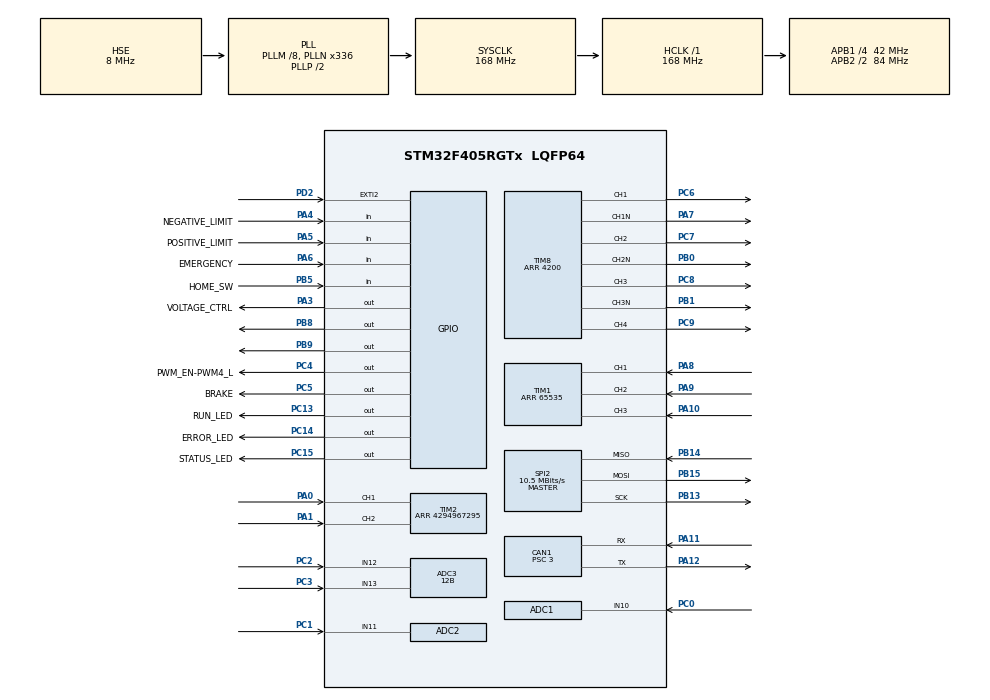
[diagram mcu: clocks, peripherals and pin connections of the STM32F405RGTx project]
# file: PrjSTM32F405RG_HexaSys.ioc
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ADC1.Channel-0\#ChannelRegularConversion=ADC_CHANNEL_10
ADC1.ClockPrescaler=ADC_CLOCK_SYNC_PCLK_DIV4
ADC1.ContinuousConvMode=DISABLE
ADC1.DMAContinuousRequests=DISABLE
ADC1.DataAlign=ADC_DATAALIGN_RIGHT
ADC1.DiscontinuousConvMode=DISABLE
ADC1.EOCSelection=ADC_EOC_SEQ_CONV
ADC1.EnableAnalogWatchDog=false
ADC1.ExternalTrigConv=ADC_EXTERNALTRIGCONV_T8_TRGO
ADC1.ExternalTrigConvEdge=ADC_EXTERNALTRIGCONVEDGE_FALLING
ADC1.InjNumberOfConversion=0
ADC1.NbrOfConversion=1
ADC1.NbrOfConversionFlag=1
ADC1.Rank-0\#ChannelRegularConversion=1
ADC1.Resolution=ADC_RESOLUTION_12B
ADC1.SamplingTime-0\#ChannelRegularConversion=ADC_SAMPLETIME_15CYCLES
ADC1.ScanConvMode=DISABLE
ADC1.master=1
ADC2.Channel-0\#ChannelRegularConversion=ADC_CHANNEL_11
ADC2.ClockPrescaler=ADC_CLOCK_SYNC_PCLK_DIV4
ADC2.ContinuousConvMode=DISABLE
ADC2.DMAContinuousRequests=DISABLE
ADC2.DataAlign=ADC_DATAALIGN_RIGHT
ADC2.DiscontinuousConvMode=DISABLE
ADC2.EOCSelection=ADC_EOC_SEQ_CONV
ADC2.EnableAnalogWatchDog=false
ADC2.ExternalTrigConv=ADC_EXTERNALTRIGCONV_T8_TRGO
ADC2.ExternalTrigConvEdge=ADC_EXTERNALTRIGCONVEDGE_FALLING
ADC2.InjNumberOfConversion=0
ADC2.NbrOfConversion=1
ADC2.NbrOfConversionFlag=1
ADC2.Rank-0\#ChannelRegularConversion=1
ADC2.Resolution=ADC_RESOLUTION_12B
ADC2.SamplingTime-0\#ChannelRegularConversion=ADC_SAMPLETIME_15CYCLES
ADC2.ScanConvMode=DISABLE
ADC3.Channel-0\#ChannelRegularConversion=ADC_CHANNEL_12
ADC3.Channel-1\#ChannelRegularConversion=ADC_CHANNEL_13
ADC3.Channel-2\#ChannelRegularConversion=ADC_CHANNEL_13
ADC3.Channel-3\#ChannelRegularConversion=ADC_CHANNEL_12
ADC3.ClockPrescaler=ADC_CLOCK_SYNC_PCLK_DIV4
ADC3.ContinuousConvMode=DISABLE
ADC3.DMAContinuousRequests=ENABLE
ADC3.DataAlign=ADC_DATAALIGN_RIGHT
ADC3.DiscontinuousConvMode=DISABLE
ADC3.EOCSelection=ADC_EOC_SEQ_CONV
ADC3.EnableAnalogWatchDog=false
ADC3.ExternalTrigConv=ADC_EXTERNALTRIGCONV_T8_TRGO
ADC3.ExternalTrigConvEdge=ADC_EXTERNALTRIGCONVEDGE_FALLING
ADC3.InjNumberOfConversion=0
ADC3.NbrOfConversion=2
ADC3.NbrOfConversionFlag=1
ADC3.Rank-0\#ChannelRegularConversion=1
ADC3.Rank-1\#ChannelRegularConversion=2
ADC3.Rank-2\#ChannelRegularConversion=2
ADC3.Rank-3\#ChannelRegularConversion=2
ADC3.Resolution=ADC_RESOLUTION_12B
ADC3.SamplingTime-0\#ChannelRegularConversion=ADC_SAMPLETIME_15CYCLES
ADC3.SamplingTime-1\#ChannelRegularConversion=ADC_SAMPLETIME_3CYCLES
ADC3.SamplingTime-2\#ChannelRegularConversion=ADC_SAMPLETIME_15CYCLES
ADC3.SamplingTime-3\#ChannelRegularConversion=ADC_SAMPLETIME_3CYCLES
ADC3.ScanConvMode=ENABLE
CAN1.BS1=CAN_BS1_10TQ
CAN1.BS2=CAN_BS2_3TQ
CAN1.CalculateTimeBit=1000
CAN1.CalculateTimeQuantum=71.42857142857143
CAN1.Prescaler=3
Dma.ADC3.0.Direction=DMA_PERIPH_TO_MEMORY
Dma.ADC3.0.FIFOMode=DMA_FIFOMODE_ENABLE
Dma.ADC3.0.FIFOThreshold=DMA_FIFO_THRESHOLD_1QUARTERFULL
Dma.ADC3.0.Instance=DMA2_Stream0
Dma.ADC3.0.MemBurst=DMA_MBURST_SINGLE
Dma.ADC3.0.MemDataAlignment=DMA_MDATAALIGN_HALFWORD
Dma.ADC3.0.MemInc=DMA_MINC_ENABLE
Dma.ADC3.0.Mode=DMA_CIRCULAR
Dma.ADC3.0.PeriphBurst=DMA_PBURST_SINGLE
Dma.ADC3.0.PeriphDataAlignment=DMA_PDATAALIGN_HALFWORD
Dma.ADC3.0.PeriphInc=DMA_PINC_DISABLE
Dma.ADC3.0.Priority=DMA_PRIORITY_LOW
Dma.Request0=ADC3
Mcu.Family=STM32F4
Mcu.Name=STM32F405RGTx
Mcu.Package=LQFP64
NVIC.ADC_IRQn=true\:0\:0\:false\:false\:true\:true
NVIC.CAN1_RX0_IRQn=true\:2\:0\:true\:false\:true\:true
NVIC.DMA2_Stream0_IRQn=true\:1\:0\:true\:false\:true\:true
NVIC.EXTI2_IRQn=true\:0\:0\:false\:false\:true\:true
NVIC.PriorityGroup=NVIC_PRIORITYGROUP_4
PA0-WKUP.Signal=S_TIM2_CH1_ETR
PA1.Signal=S_TIM2_CH2
PA10.Signal=S_TIM1_CH3
PA11.GPIO_PuPd=GPIO_PULLUP
PA11.Mode=Master
PA11.Signal=CAN1_RX
PA12.GPIO_PuPd=GPIO_PULLUP
PA12.Mode=Master
PA12.Signal=CAN1_TX
PA13.Mode=JTAG_5_pins
PA13.Signal=SYS_JTMS-SWDIO
PA14.Mode=JTAG_5_pins
PA14.Signal=SYS_JTCK-SWCLK
PA15.Mode=JTAG_5_pins
PA15.Signal=SYS_JTDI
PA2.Signal=S_TIM2_CH3
PA3.GPIO_Label=VOLTAGE_CTRL
PA3.GPIO_PuPd=GPIO_PULLDOWN
PA3.GPIO_Speed=GPIO_SPEED_FREQ_VERY_HIGH
PA3.Signal=GPIO_Output
PA4.GPIO_Label=NEGATIVE_LIMIT
PA4.GPIO_PuPd=GPIO_PULLDOWN
PA4.Signal=GPIO_Input
PA5.GPIO_Label=POSITIVE_LIMIT
PA5.GPIO_PuPd=GPIO_PULLDOWN
PA5.Signal=GPIO_Input
PA6.GPIO_Label=EMERGENCY
PA6.GPIO_PuPd=GPIO_PULLDOWN
PA6.Signal=GPIO_Input
PA7.GPIO_PuPd=GPIO_PULLDOWN
PA7.GPIO_Speed=GPIO_SPEED_FREQ_VERY_HIGH
PA7.Mode=PWM Generation1 CH1 CH1N
PA7.Signal=TIM8_CH1N
PA8.Signal=S_TIM1_CH1
PA9.Signal=S_TIM1_CH2
PB0.GPIO_PuPd=GPIO_PULLDOWN
PB0.GPIO_Speed=GPIO_SPEED_FREQ_VERY_HIGH
PB0.Mode=PWM Generation2 CH2 CH2N
PB0.Signal=TIM8_CH2N
PB1.GPIO_PuPd=GPIO_PULLDOWN
PB1.GPIO_Speed=GPIO_SPEED_FREQ_VERY_HIGH
PB1.Mode=PWM Generation3 CH3 CH3N
PB1.Signal=TIM8_CH3N
PB10.Signal=USART3_TX
PB11.Signal=USART3_RX
PB12.Signal=SPI2_NSS
PB13.Mode=Full_Duplex_Master
PB13.Signal=SPI2_SCK
PB14.Mode=Full_Duplex_Master
PB14.Signal=SPI2_MISO
PB15.Mode=Full_Duplex_Master
PB15.Signal=SPI2_MOSI
PB3.Mode=JTAG_5_pins
PB3.Signal=SYS_JTDO-SWO
PB4.Mode=JTAG_5_pins
PB4.Signal=SYS_JTRST
PB5.GPIO_Label=HOME_SW
PB5.GPIO_PuPd=GPIO_PULLDOWN
PB5.Signal=GPIO_Input
PB8.GPIO_PuPd=GPIO_PULLUP
PB8.GPIO_Speed=GPIO_SPEED_FREQ_VERY_HIGH
PB8.Signal=GPIO_Output
PB9.GPIO_PuPd=GPIO_PULLUP
PB9.GPIO_Speed=GPIO_SPEED_FREQ_VERY_HIGH
PB9.Signal=GPIO_Output
PC0.Signal=ADCx_IN10
PC1.Signal=ADCx_IN11
PC13-ANTI_TAMP.GPIO_Label=RUN_LED
PC13-ANTI_TAMP.PinState=GPIO_PIN_RESET
PC13-ANTI_TAMP.Signal=GPIO_Output
PC14-OSC32_IN.GPIO_Label=ERROR_LED
PC14-OSC32_IN.Signal=GPIO_Output
PC15-OSC32_OUT.GPIO_Label=STATUS_LED
PC15-OSC32_OUT.Signal=GPIO_Output
PC2.Signal=ADCx_IN12
PC3.Signal=ADCx_IN13
PC4.GPIO_Label=PWM_EN-PWM4_L
PC4.GPIO_PuPd=GPIO_PULLDOWN
PC4.GPIO_Speed=GPIO_SPEED_FREQ_VERY_HIGH
PC4.Signal=GPIO_Output
PC5.GPIO_Label=BRAKE
PC5.Signal=GPIO_Output
PC6.GPIO_PuPd=GPIO_PULLDOWN
PC6.GPIO_Speed=GPIO_SPEED_FREQ_VERY_HIGH
PC6.Signal=S_TIM8_CH1
PC7.GPIO_PuPd=GPIO_PULLDOWN
PC7.GPIO_Speed=GPIO_SPEED_FREQ_VERY_HIGH
PC7.Signal=S_TIM8_CH2
PC8.GPIO_PuPd=GPIO_PULLDOWN
PC8.GPIO_Speed=GPIO_SPEED_FREQ_VERY_HIGH
PC8.Signal=S_TIM8_CH3
PC9.GPIO_PuPd=GPIO_PULLDOWN
PC9.GPIO_Speed=GPIO_SPEED_FREQ_VERY_HIGH
PC9.Signal=S_TIM8_CH4
PD2.GPIO_ModeDefaultEXTI=GPIO_MODE_IT_FALLING
PD2.GPIO_PuPd=GPIO_PULLDOWN
PD2.Signal=GPXTI2
PH0-OSC_IN.Mode=HSE-External-Oscillator
PH0-OSC_IN.Signal=RCC_OSC_IN
PH1-OSC_OUT.Mode=HSE-External-Oscillator
PH1-OSC_OUT.Signal=RCC_OSC_OUT
ProjectManager.HeapSize=0x2000
ProjectManager.StackSize=0x2000
ProjectManager.TargetToolchain=EWARM
RCC.48MHZClocksFreq_Value=84000000
RCC.AHBFreq_Value=168000000
RCC.APB1CLKDivider=RCC_HCLK_DIV4
RCC.APB1Freq_Value=42000000
RCC.APB1TimFreq_Value=84000000
RCC.APB2CLKDivider=RCC_HCLK_DIV2
RCC.APB2Freq_Value=84000000
RCC.APB2TimFreq_Value=168000000
RCC.CortexFreq_Value=168000000
RCC.HCLKFreq_Value=168000000
RCC.HSE_VALUE=8000000
RCC.HSI_VALUE=16000000
RCC.LSE_VALUE=32768
RCC.PLLM=8
RCC.PLLN=336
RCC.PLLSourceVirtual=RCC_PLLSOURCE_HSE
RCC.SYSCLKFreq_VALUE=168000000
RCC.SYSCLKSource=RCC_SYSCLKSOURCE_PLLCLK
RCC.VCOOutputFreq_Value=336000000
SH.ADCx_IN10.0=ADC1_IN10,IN10
SH.ADCx_IN11.0=ADC2_IN11,IN11
SH.ADCx_IN12.0=ADC3_IN12,IN12
SH.ADCx_IN13.0=ADC3_IN13,IN13
SH.S_TIM1_CH1.0=TIM1_CH1,Encoder_Interface
SH.S_TIM1_CH2.0=TIM1_CH2,Encoder_Interface
SH.S_TIM1_CH3.0=TIM1_CH3,Input_Capture3_from_TI3
SH.S_TIM2_CH1_ETR.0=TIM2_CH1,Encoder_Interface
SH.S_TIM2_CH2.0=TIM2_CH2,Encoder_Interface
SH.S_TIM2_CH3.0=TIM2_CH3
SH.S_TIM8_CH1.0=TIM8_CH1,PWM Generation1 CH1 CH1N
SH.S_TIM8_CH2.0=TIM8_CH2,PWM Generation2 CH2 CH2N
SH.S_TIM8_CH3.0=TIM8_CH3,PWM Generation3 CH3 CH3N
SH.S_TIM8_CH4.0=TIM8_CH4,Output Compare4 CH4
SPI2.BaudRatePrescaler=SPI_BAUDRATEPRESCALER_4
SPI2.CalculateBaudRate=10.5 MBits/s
SPI2.Direction=SPI_DIRECTION_2LINES
SPI2.Mode=SPI_MODE_MASTER
SPI2.VirtualType=VM_MASTER
TIM1.Channel-Input_Capture3_from_TI3=TIM_CHANNEL_3
TIM1.EncoderMode=TIM_ENCODERMODE_TI12
TIM1.Period=65535
TIM1.TIM_MasterOutputTrigger=TIM_TRGO_RESET
TIM2.EncoderMode=TIM_ENCODERMODE_TI12
TIM2.Period=4294967295
TIM8.Channel-Output\ Compare4\ CH4=TIM_CHANNEL_4
TIM8.Channel-PWM\ Generation1\ CH1\ CH1N=TIM_CHANNEL_1
TIM8.Channel-PWM\ Generation2\ CH2\ CH2N=TIM_CHANNEL_2
TIM8.Channel-PWM\ Generation3\ CH3\ CH3N=TIM_CHANNEL_3
TIM8.CounterMode=TIM_COUNTERMODE_CENTERALIGNED1
TIM8.DeadTime=84
TIM8.OCFastMode_PWM-PWM\ Generation1\ CH1\ CH1N=TIM_OCFAST_DISABLE
TIM8.OCMode_4=TIM_OCMODE_TOGGLE
TIM8.OCMode_PWM-PWM\ Generation1\ CH1\ CH1N=TIM_OCMODE_PWM2
TIM8.OCMode_PWM-PWM\ Generation2\ CH2\ CH2N=TIM_OCMODE_PWM2
TIM8.OCMode_PWM-PWM\ Generation3\ CH3\ CH3N=TIM_OCMODE_PWM2
TIM8.Period=4200
TIM8.Pulse-Output\ Compare4\ CH4=4158
TIM8.Pulse-PWM\ Generation1\ CH1\ CH1N=4200
TIM8.Pulse-PWM\ Generation2\ CH2\ CH2N=4200
TIM8.Pulse-PWM\ Generation3\ CH3\ CH3N=4200
TIM8.TIM_MasterOutputTrigger=TIM_TRGO_OC4REF
VP_TIM8_VS_ClockSourceINT.Mode=Internal
board=PrjSTM32F405RG_HexaSys

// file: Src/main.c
/**
  ******************************************************************************
  * File Name          : main.c
  * Description        : Main program body
  ******************************************************************************
  ** This notice applies to any and all portions of this file
  * that are not between comment pairs USER CODE BEGIN and
  * USER CODE END. Other portions of this file, whether
  * inserted by the user or by software development tools
  * are owned by their respective copyright owners.
  *
  * COPYRIGHT(c) 2018 STMicroelectronics
  *
  * Redistribution and use in source and binary forms, with or without modification,
  * are permitted provided that the following conditions are met:
  *   1. Redistributions of source code must retain the above copyright notice,
  *      this list of conditions and the following disclaimer.
  *   2. Redistributions in binary form must reproduce the above copyright notice,
  *      this list of conditions and the following disclaimer in the documentation
  *      and/or other materials provided with the distribution.
  *   3. Neither the name of STMicroelectronics nor the names of its contributors
  *      may be used to endorse or promote products derived from this software
  *      without specific prior written permission.
  *
  * THIS SOFTWARE IS PROVIDED BY THE COPYRIGHT HOLDERS AND CONTRIBUTORS "AS IS"
  * AND ANY EXPRESS OR IMPLIED WARRANTIES, INCLUDING, BUT NOT LIMITED TO, THE
  * IMPLIED WARRANTIES OF MERCHANTABILITY AND FITNESS FOR A PARTICULAR PURPOSE ARE
  * DISCLAIMED. IN NO EVENT SHALL THE COPYRIGHT HOLDER OR CONTRIBUTORS BE LIABLE
  * FOR ANY DIRECT, INDIRECT, INCIDENTAL, SPECIAL, EXEMPLARY, OR CONSEQUENTIAL
  * DAMAGES (INCLUDING, BUT NOT LIMITED TO, PROCUREMENT OF SUBSTITUTE GOODS OR
  * SERVICES; LOSS OF USE, DATA, OR PROFITS; OR BUSINESS INTERRUPTION) HOWEVER
  * CAUSED AND ON ANY THEORY OF LIABILITY, WHETHER IN CONTRACT, STRICT LIABILITY,
  * OR TORT (INCLUDING NEGLIGENCE OR OTHERWISE) ARISING IN ANY WAY OUT OF THE USE
  * OF THIS SOFTWARE, EVEN IF ADVISED OF THE POSSIBILITY OF SUCH DAMAGE.
  *
  ******************************************************************************
  */
#include "main.h"
#include "stm32f4xx_hal.h"
#include "adc.h"
#include "can.h"
#include "dma.h"
#include "spi.h"
#include "tim.h"
#include "gpio.h"

/* USER CODE BEGIN Includes */
#include <string.h>
#include "ServoControllerInterface.h"
 #include "can_comm.h"
/* USER CODE END Includes */

/* USER CODE BEGIN PV */
/* Private variables ---------------------------------------------------------*/
extern int16_t adc12Result[2];
extern int16_t adc3Result[2];
extern uint8_t encoder1Type;
extern uint8_t encoder2Type;
/* USER CODE END PV */

void SystemClock_Config(void);

/* USER CODE BEGIN PFP */
/* Private function prototypes -----------------------------------------------*/

/* USER CODE END PFP */

int main(void)
{

  /* MCU Configuration----------------------------------------------------------*/

  /* Reset of all peripherals, Initializes the Flash interface and the Systick. */
  HAL_Init();

  /* Configure the system clock */
  SystemClock_Config();

  /* Initialize all configured peripherals */
  MX_GPIO_Init();
  MX_DMA_Init();
  MX_TIM8_Init();
  MX_ADC1_Init();
  MX_ADC2_Init();
  MX_ADC3_Init();
  MX_TIM2_Init();
  MX_CAN1_Init();
  MX_TIM1_Init();
  MX_SPI2_Init();

  /* USER CODE BEGIN 2 */
 	//	Servo Controller
	InitServoController();
	//LoadMotorProperty(MAXONMOTOR_EC60_FLAT_100W_408057); //rohau pedal motor
    //LoadMotorProperty(CELERA_UTH_63_B18_Cx000); //1st 1dof test(170620)
    //LoadMotorProperty(KOLLMORGEN_01810_C); //2nd 1dof test bed (180310)
	//LoadMotorProperty(MAXONMOTOR_ECI52_60W); //2nd goods (samsung-H4L):single leg AM_MF0095020
	//LoadMotorProperty(AM_MF0095020); //power gait robot(190318)
	LoadMotorProperty(MOTOR_ID_NONE);

	encoder1Type = GetEncoder1Type();
	encoder2Type = GetEncoder2Type();

	//	PWM
	HAL_TIM_PWM_Start(&htim8, TIM_CHANNEL_1);
	HAL_TIMEx_PWMN_Start(&htim8, TIM_CHANNEL_1);
	HAL_TIM_PWM_Start(&htim8, TIM_CHANNEL_2);
	HAL_TIMEx_PWMN_Start(&htim8, TIM_CHANNEL_2);
	HAL_TIM_PWM_Start(&htim8, TIM_CHANNEL_3);
	HAL_TIMEx_PWMN_Start(&htim8, TIM_CHANNEL_3);
	HAL_TIM_OC_Start(&htim8, TIM_CHANNEL_4);
	HAL_TIM_Base_Start_IT(&htim8);

	//	ADC
	HAL_ADC_Start_IT(&hadc1);
	HAL_ADC_Start_IT(&hadc2);
	HAL_ADC_Start_DMA(&hadc3, (uint32_t *)adc3Result, 2);

	//	Encoder
	HAL_TIM_Encoder_Start(&htim2, TIM_CHANNEL_1);
	HAL_TIM_Encoder_Start(&htim2, TIM_CHANNEL_2);

	//	CAN
	Can_config(&hcan1, 1);
	if(HAL_CAN_Receive_IT(&hcan1, CAN_FIFO0) != HAL_OK) {
	}
	//Hall
	//HAL_TIMEx_HallSensor_Start(&htim1); //pjg++181105
	//htim1.Instance->SMCR |= TIM_TS_TI1F_ED; //pjg++181107
	/* Enable the Hall sensor interface (XOR function of the three inputs) */
	//htim1.Instance->CR2 |= TIM_CR2_TI1S; //pjg++181107
	//HAL_TIM_Encoder_Start(&htim1, TIM_CHANNEL_ALL); //pjg++181107
  /* USER CODE END 2 */

  /* Infinite loop */
  while (1)
  {

  }

}

/** System Clock Configuration
*/
void SystemClock_Config(void)
{

  RCC_OscInitTypeDef RCC_OscInitStruct;
  RCC_ClkInitTypeDef RCC_ClkInitStruct;

    /**Configure the main internal regulator output voltage
    */
  __HAL_RCC_PWR_CLK_ENABLE();

  __HAL_PWR_VOLTAGESCALING_CONFIG(PWR_REGULATOR_VOLTAGE_SCALE1);

    /**Initializes the CPU, AHB and APB busses clocks
    */
  RCC_OscInitStruct.OscillatorType = RCC_OSCILLATORTYPE_HSE;
  RCC_OscInitStruct.HSEState = RCC_HSE_ON;
  RCC_OscInitStruct.PLL.PLLState = RCC_PLL_ON;
  RCC_OscInitStruct.PLL.PLLSource = RCC_PLLSOURCE_HSE;
  RCC_OscInitStruct.PLL.PLLM = 8;
  RCC_OscInitStruct.PLL.PLLN = 336;
  RCC_OscInitStruct.PLL.PLLP = RCC_PLLP_DIV2;
  RCC_OscInitStruct.PLL.PLLQ = 4;
  if (HAL_RCC_OscConfig(&RCC_OscInitStruct) != HAL_OK)
  {
    _Error_Handler(__FILE__, __LINE__);
  }

    /**Initializes the CPU, AHB and APB busses clocks
    */
  RCC_ClkInitStruct.ClockType = RCC_CLOCKTYPE_HCLK|RCC_CLOCKTYPE_SYSCLK
                              |RCC_CLOCKTYPE_PCLK1|RCC_CLOCKTYPE_PCLK2;
  RCC_ClkInitStruct.SYSCLKSource = RCC_SYSCLKSOURCE_PLLCLK;
  RCC_ClkInitStruct.AHBCLKDivider = RCC_SYSCLK_DIV1;
  RCC_ClkInitStruct.APB1CLKDivider = RCC_HCLK_DIV4;
  RCC_ClkInitStruct.APB2CLKDivider = RCC_HCLK_DIV2;

  if (HAL_RCC_ClockConfig(&RCC_ClkInitStruct, FLASH_LATENCY_5) != HAL_OK)
  {
    _Error_Handler(__FILE__, __LINE__);
  }

    /**Configure the Systick interrupt time
    */
  HAL_SYSTICK_Config(HAL_RCC_GetHCLKFreq()/1000);

    /**Configure the Systick
    */
  HAL_SYSTICK_CLKSourceConfig(SYSTICK_CLKSOURCE_HCLK);

  /* SysTick_IRQn interrupt configuration */
  HAL_NVIC_SetPriority(SysTick_IRQn, 3, 0);
}

void _Error_Handler(char * file, int line)
{
  while(1)
  {
  }
}

/************************ (C) COPYRIGHT STMicroelectronics *****END OF FILE****/
